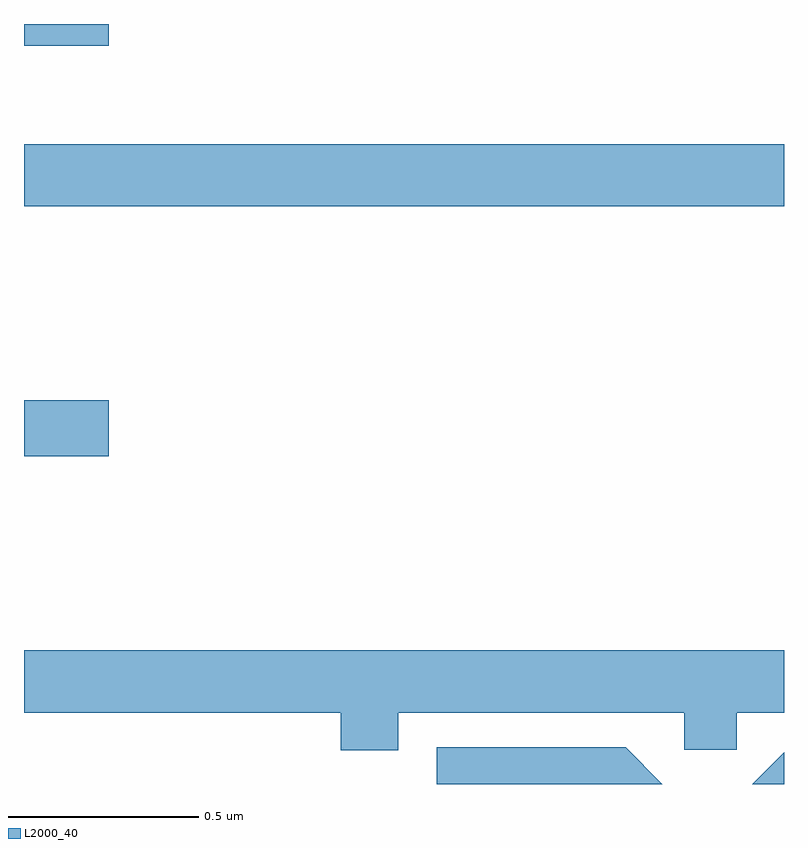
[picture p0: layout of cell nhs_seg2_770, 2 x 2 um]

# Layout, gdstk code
import gdstk
lib = gdstk.Library(unit=1e-6, precision=1e-09)
def R(c, l, rs):  # rectangles x0, y0, x1, y1
    for r in rs: c.add(gdstk.rectangle(r[:2], r[2:], *l))
def P(c, l, *ps):  # polygons
    for p in ps: c.add(gdstk.Polygon(p, *l))
L2000_40 = (2000, 40)

nhs_seg2_770 = lib.new_cell('nhs_seg2_770')
R(nhs_seg2_770, L2000_40, [(120,629.663,120.223,629.81), (120,630.32,122,630.484), (120,630.743,120.223,630.8)])
P(nhs_seg2_770, L2000_40, [(120.985,628.988),(121.737,628.988),(121.737,628.89),(121.875,628.89),(121.875,628.988),(122,628.988),(122,629.152),(120,629.152),(120,628.988),(120.833,628.988),(120.833,628.889),(120.985,628.889)],
  [(121.583,628.897),(121.086,628.897),(121.086,628.8),(121.68,628.8)],
  [(122,628.883),(121.917,628.8),(122,628.8)])

lib.write_gds('nhs_seg2_770.gds')
